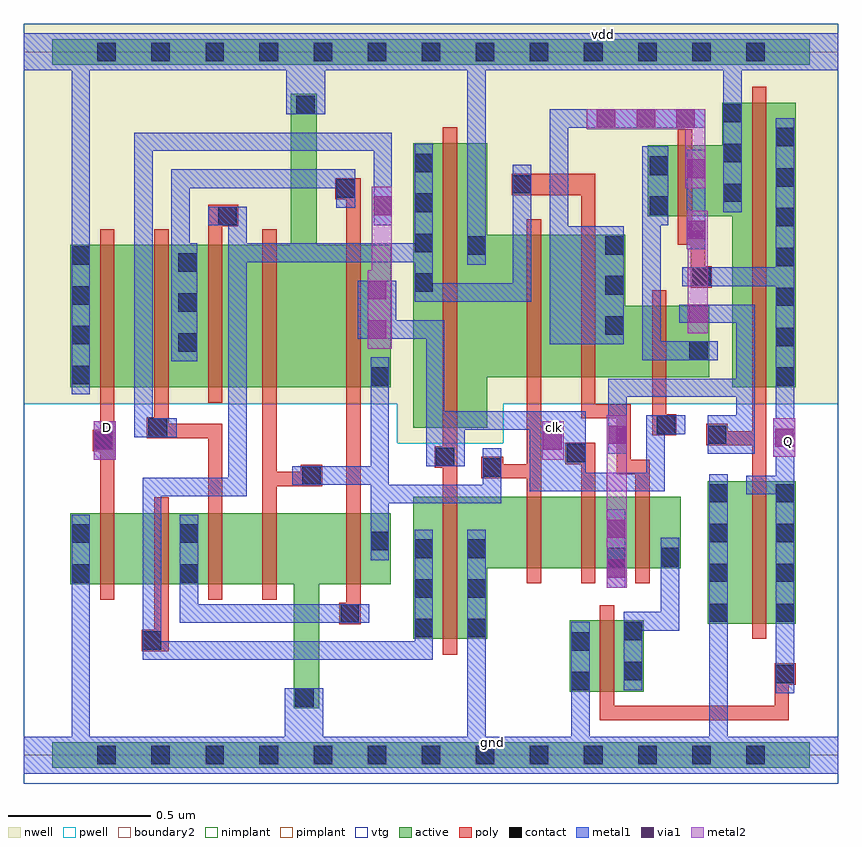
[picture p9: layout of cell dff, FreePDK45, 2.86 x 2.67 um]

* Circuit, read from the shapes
.subckt dff D Q clk gnd vdd
M1 n1 D gnd gnd nfet w=0.25u l=0.049u
M2 n2 n3 n1 gnd nfet w=0.25u l=0.051u
M3 n4 clk n2 gnd nfet w=0.25u l=0.05u
M4 gnd n5 n4 gnd nfet w=0.25u l=0.051u
M5 n5 n2 gnd gnd nfet w=0.25u l=0.05u
M6 gnd clk n3 gnd nfet w=0.499u l=0.05u
M7 n6 n5 gnd gnd nfet w=0.25u l=0.051u
M8 n7 clk n6 gnd nfet w=0.25u l=0.05u
M9 n8 Q gnd gnd nfet w=0.251u l=0.051u
M10 n8 n3 n7 gnd nfet w=0.25u l=0.051u
M11 Q n7 gnd gnd nfet w=0.5u l=0.049u
M12 n9 D vdd vdd pfet w=0.5u l=0.049u
M13 n2 clk n9 vdd pfet w=0.5u l=0.051u
M14 n10 n3 n2 vdd pfet w=0.5u l=0.05u
M15 vdd n5 n10 vdd pfet w=0.5u l=0.051u
M16 n5 n2 vdd vdd pfet w=0.5u l=0.05u
M17 vdd clk n3 vdd pfet w=1u l=0.05u
M18 n11 n5 vdd vdd pfet w=0.5u l=0.051u
M19 n7 n3 n11 vdd pfet w=0.5u l=0.05u
M20 n12 clk n7 vdd pfet w=0.25u l=0.05u
M21 vdd Q n12 vdd pfet w=0.251u l=0.051u
M22 Q n7 vdd vdd pfet w=1u l=0.049u
.ends

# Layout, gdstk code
import gdstk
lib = gdstk.Library(unit=1e-6, precision=1e-09)
def R(c, l, rs):  # rectangles x0, y0, x1, y1
    for r in rs: c.add(gdstk.rectangle(r[:2], r[2:], *l))
def A(c, l, x, y, w, h, nx, ny, dx, dy):  # array of equal rectangles
    R(c, l, [(x+i*dx, y+j*dy, x+i*dx+w, y+j*dy+h) for i in range(nx) for j in range(ny)])
def P(c, l, *ps):  # polygons
    for p in ps: c.add(gdstk.Polygon(p, *l))
active = (1, 0)
pwell = (2, 0)
nwell = (3, 0)
nimplant = (4, 0)
pimplant = (5, 0)
vtg = (6, 0)
poly = (9, 0)
contact = (10, 0)
metal1 = (11, 0)
via1 = (12, 0)
metal2 = (13, 0)
boundary2 = (239, 0)

dff = lib.new_cell('dff')
R(dff, active, [(0.1,-0.045,2.76,0.045), (1.917,0.222,2.022,0.473), (2.022,0.222,2.073,0.473), (2.073,0.222,2.178,0.473), (1.367,0.408,1.472,0.907), (1.472,0.408,1.522,0.907), (2.402,0.462,2.558,0.962), (2.558,0.462,2.607,0.962), (2.607,0.462,2.712,0.962), (0.163,0.6,0.268,0.85), (0.268,0.6,0.317,0.85), (0.317,0.6,0.457,0.85), (0.457,0.6,0.508,0.85), (0.508,0.6,0.647,0.85), (0.647,0.6,0.697,0.85), (0.697,0.6,0.837,0.85), (0.837,0.6,0.888,0.85), (1.133,0.6,1.183,0.85), (1.183,0.6,1.288,0.85), (1.767,0.657,1.818,0.907), (1.818,0.657,1.957,0.907), (1.957,0.657,2.007,0.907), (2.007,0.657,2.147,0.907), (2.147,0.657,2.198,0.907), (2.198,0.657,2.308,0.907), (1.367,1.15,1.472,2.15), (1.472,1.15,1.522,2.15), (0.163,1.292,0.268,1.792), (0.268,1.292,0.317,1.792), (0.317,1.292,0.457,1.792), (0.457,1.292,0.508,1.792), (0.508,1.292,0.647,1.792), (0.647,1.292,0.697,1.792), (0.697,1.292,0.837,1.792), (0.837,1.292,0.888,1.792), (1.133,1.292,1.183,1.792), (1.183,1.292,1.288,1.792), (2.558,1.292,2.607,2.292), (2.607,1.292,2.712,2.292), (1.767,1.328,1.818,1.828), (1.818,1.328,1.957,1.828), (1.957,1.328,2.007,1.828), (2.207,1.328,2.257,1.578), (2.257,1.328,2.408,1.578), (2.192,1.892,2.297,2.143), (2.297,1.892,2.348,2.143), (0.1,2.425,2.76,2.515)])
P(dff, active, [(0.888,1.292),(0.888,1.792),(0.937,1.792),(0.937,2.323),(1.028,2.323),(1.028,1.792),(1.133,1.792),(1.133,1.292)],
  [(1.522,1.15),(1.522,2.15),(1.627,2.15),(1.627,1.828),(1.767,1.828),(1.767,1.328),(1.627,1.328),(1.627,1.15)],
  [(2.007,1.328),(2.007,1.828),(2.112,1.828),(2.112,1.578),(2.207,1.578),(2.207,1.328)],
  [(2.488,1.292),(2.488,1.892),(2.348,1.892),(2.348,2.143),(2.453,2.143),(2.453,2.292),(2.558,2.292),(2.558,1.292)],
  [(0.947,0.165),(0.947,0.6),(0.888,0.6),(0.888,0.85),(1.133,0.85),(1.133,0.6),(1.038,0.6),(1.038,0.165)],
  [(1.522,0.408),(1.522,0.907),(1.767,0.907),(1.767,0.657),(1.627,0.657),(1.627,0.408)])
P(dff, pwell, [(0,-0.1),(0,1.235),(1.312,1.235),(1.312,1.095),(1.683,1.095),(1.683,1.235),(2.86,1.235),(2.86,-0.1)])
P(dff, nwell, [(1.312,1.095),(1.312,1.235),(0,1.235),(0,2.57),(2.86,2.57),(2.86,1.235),(1.683,1.235),(1.683,1.095)])
R(dff, nimplant, [(1.917,0.222,2.022,0.473), (2.022,0.222,2.073,0.473), (2.073,0.222,2.178,0.473), (1.367,0.408,1.472,0.907), (1.472,0.408,1.522,0.907), (2.402,0.462,2.558,0.962), (2.558,0.462,2.607,0.962), (2.607,0.462,2.712,0.962), (0.163,0.6,0.268,0.85), (0.268,0.6,0.317,0.85), (0.317,0.6,0.457,0.85), (0.457,0.6,0.508,0.85), (0.508,0.6,0.647,0.85), (0.647,0.6,0.697,0.85), (0.697,0.6,0.837,0.85), (0.837,0.6,0.888,0.85), (1.133,0.6,1.183,0.85), (1.183,0.6,1.288,0.85), (1.767,0.657,1.818,0.907), (1.818,0.657,1.957,0.907), (1.957,0.657,2.007,0.907), (2.007,0.657,2.147,0.907), (2.147,0.657,2.198,0.907), (2.198,0.657,2.308,0.907), (0.1,2.425,2.76,2.515)])
P(dff, nimplant, [(0.947,0.165),(0.947,0.6),(0.888,0.6),(0.888,0.85),(1.133,0.85),(1.133,0.6),(1.038,0.6),(1.038,0.165)],
  [(1.522,0.408),(1.522,0.907),(1.767,0.907),(1.767,0.657),(1.627,0.657),(1.627,0.408)])
R(dff, pimplant, [(0.1,-0.045,2.76,0.045), (1.367,1.15,1.472,2.15), (1.472,1.15,1.522,2.15), (0.163,1.292,0.268,1.792), (0.268,1.292,0.317,1.792), (0.317,1.292,0.457,1.792), (0.457,1.292,0.508,1.792), (0.508,1.292,0.647,1.792), (0.647,1.292,0.697,1.792), (0.697,1.292,0.837,1.792), (0.837,1.292,0.888,1.792), (1.133,1.292,1.183,1.792), (1.183,1.292,1.288,1.792), (2.558,1.292,2.607,2.292), (2.607,1.292,2.712,2.292), (1.767,1.328,1.818,1.828), (1.818,1.328,1.957,1.828), (1.957,1.328,2.007,1.828), (2.207,1.328,2.257,1.578), (2.257,1.328,2.408,1.578), (2.192,1.892,2.297,2.143), (2.297,1.892,2.348,2.143)])
P(dff, pimplant, [(0.888,1.292),(0.888,1.792),(0.937,1.792),(0.937,2.323),(1.028,2.323),(1.028,1.792),(1.133,1.792),(1.133,1.292)],
  [(1.522,1.15),(1.522,2.15),(1.627,2.15),(1.627,1.828),(1.767,1.828),(1.767,1.328),(1.627,1.328),(1.627,1.15)],
  [(2.007,1.328),(2.007,1.828),(2.112,1.828),(2.112,1.578),(2.207,1.578),(2.207,1.328)],
  [(2.488,1.292),(2.488,1.892),(2.348,1.892),(2.348,2.143),(2.453,2.143),(2.453,2.292),(2.558,2.292),(2.558,1.292)])
R(dff, vtg, [(0,-0.1,2.86,2.57)])
R(dff, poly, [(2.022,0.222,2.073,0.473), (1.472,0.352,1.522,0.408), (1.472,0.408,1.522,0.907), (2.558,0.408,2.607,0.462), (2.558,0.462,2.607,0.962), (2.022,0.473,2.073,0.527), (0.268,0.545,0.317,0.6), (0.647,0.545,0.697,0.6), (0.837,0.545,0.888,0.6), (0.268,0.6,0.317,0.85), (0.457,0.6,0.508,0.85), (0.647,0.6,0.697,0.85), (0.837,0.6,0.888,0.85), (1.133,0.6,1.183,0.85), (1.767,0.603,1.818,0.657), (1.957,0.603,2.007,0.657), (2.147,0.603,2.198,0.657), (1.767,0.657,1.818,0.907), (1.957,0.657,2.007,0.907), (2.147,0.657,2.198,0.907), (0.457,0.85,0.508,0.905), (1.133,0.85,1.183,1.292), (1.472,1.15,1.522,2.15), (0.647,1.238,0.697,1.292), (0.268,1.292,0.317,1.792), (0.457,1.292,0.508,1.792), (0.647,1.292,0.697,1.792), (0.837,1.292,0.888,1.792), (1.133,1.292,1.183,1.792), (2.558,1.292,2.607,2.292), (1.767,1.328,1.818,1.828), (1.957,1.328,2.007,1.828), (2.207,1.328,2.257,1.578), (2.207,1.578,2.257,1.632), (0.268,1.792,0.317,1.848), (0.457,1.792,0.508,1.848), (0.837,1.792,0.888,1.848), (1.767,1.828,1.818,1.882), (2.297,1.892,2.348,2.143), (2.297,2.143,2.348,2.198), (1.472,2.15,1.522,2.205), (2.558,2.292,2.607,2.348)])
P(dff, poly, [(0.268,0.85),(0.268,1.068),(0.242,1.068),(0.242,1.143),(0.268,1.143),(0.268,1.292),(0.317,1.292),(0.317,0.85)],
  [(0.413,0.365),(0.413,0.44),(0.457,0.44),(0.457,0.6),(0.508,0.6),(0.508,0.365)],
  [(0.647,1.792),(0.647,1.933),(0.753,1.933),(0.753,1.857),(0.697,1.857),(0.697,1.792)],
  [(0.647,0.85),(0.647,1.113),(0.432,1.113),(0.432,1.187),(0.457,1.187),(0.457,1.292),(0.508,1.292),(0.508,1.163),(0.697,1.163),(0.697,0.85)],
  [(0.837,0.85),(0.837,1.292),(0.888,1.292),(0.888,0.995),(0.972,0.995),(0.972,1.02),(1.048,1.02),(1.048,0.945),(0.888,0.945),(0.888,0.85)],
  [(1.133,1.792),(1.133,1.953),(1.093,1.953),(1.093,2.027),(1.183,2.027),(1.183,1.792)],
  [(1.107,0.46),(1.107,0.535),(1.133,0.535),(1.133,0.6),(1.183,0.6),(1.183,0.46)],
  [(1.472,0.907),(1.472,1.01),(1.443,1.01),(1.443,1.085),(1.472,1.085),(1.472,1.15),(1.522,1.15),(1.522,0.907)],
  [(1.767,0.907),(1.767,0.972),(1.607,0.972),(1.607,1.048),(1.683,1.048),(1.683,1.022),(1.767,1.022),(1.767,1.328),(1.818,1.328),(1.818,0.907)],
  [(1.957,1.828),(1.957,1.967),(1.713,1.967),(1.713,2.042),(2.007,2.042),(2.007,1.828)],
  [(1.957,0.907),(1.957,1.022),(1.902,1.022),(1.902,1.097),(2.007,1.097),(2.007,0.907)],
  [(2.343,1.642),(2.343,1.792),(2.297,1.792),(2.297,1.892),(2.348,1.892),(2.348,1.842),(2.393,1.842),(2.393,1.717),(2.417,1.717),(2.417,1.642)],
  [(2.207,1.123),(2.207,1.328),(2.257,1.328),(2.257,1.197),(2.292,1.197),(2.292,1.123)],
  [(2.022,0.122),(2.022,0.222),(2.073,0.222),(2.073,0.173),(2.638,0.173),(2.638,0.323),(2.712,0.323),(2.712,0.247),(2.687,0.247),(2.687,0.122)],
  [(2.147,0.907),(2.147,0.987),(2.083,0.987),(2.083,1.183),(1.957,1.183),(1.957,1.328),(2.007,1.328),(2.007,1.232),(2.132,1.232),(2.132,1.038),(2.198,1.038),(2.198,0.907)],
  [(2.558,0.962),(2.558,1.088),(2.397,1.088),(2.397,1.163),(2.473,1.163),(2.473,1.137),(2.558,1.137),(2.558,1.292),(2.607,1.292),(2.607,0.962)])
A(dff, contact, 0.827, -0.033, 0.066, 0.066, 3, 1, 0.57, 0)
A(dff, contact, 2.408, 0.468, 0.065, 0.064, 1, 4, 0, 0.14)
A(dff, contact, 2.642, 0.468, 0.065, 0.064, 1, 4, 0, 0.14)
A(dff, contact, 2.642, 1.717, 0.065, 0.065, 1, 3, 0, 0.14)
A(dff, contact, 0.827, 2.437, 0.066, 0.065, 3, 1, 0.57, 0)
R(dff, contact, [(0.258,-0.033,0.323,0.033), (0.447,-0.033,0.512,0.033), (0.638,-0.033,0.702,0.033), (1.018,-0.033,1.083,0.033), (1.207,-0.033,1.272,0.033), (1.588,-0.033,1.653,0.033), (1.777,-0.033,1.842,0.033), (2.158,-0.033,2.223,0.033), (2.348,-0.033,2.413,0.033), (2.538,-0.033,2.602,0.033), (0.952,0.17,1.018,0.235), (1.922,0.227,1.987,0.292), (2.642,0.252,2.707,0.317), (2.107,0.263,2.172,0.328), (1.922,0.367,1.987,0.432), (0.417,0.37,0.482,0.435), (2.107,0.403,2.172,0.468), (1.373,0.413,1.437,0.478), (1.558,0.413,1.622,0.478), (1.113,0.465,1.177,0.53), (1.373,0.552,1.437,0.618), (1.558,0.552,1.622,0.618), (0.168,0.605,0.232,0.67), (0.547,0.605,0.613,0.67), (2.047,0.662,2.112,0.728), (2.238,0.662,2.303,0.728), (1.373,0.692,1.437,0.758), (1.558,0.692,1.622,0.758), (1.218,0.72,1.282,0.785), (0.168,0.745,0.232,0.81), (0.547,0.745,0.613,0.81), (0.977,0.95,1.042,1.015), (1.612,0.977,1.677,1.042), (1.447,1.015,1.512,1.08), (1.907,1.028,1.973,1.093), (0.247,1.073,0.312,1.137), (2.402,1.093,2.468,1.157), (0.437,1.117,0.503,1.183), (2.223,1.127,2.288,1.193), (1.218,1.298,1.282,1.363), (2.642,1.298,2.707,1.363), (0.168,1.302,0.232,1.367), (2.337,1.387,2.402,1.453), (0.542,1.417,0.608,1.482), (2.642,1.437,2.707,1.502), (0.168,1.443,0.232,1.508), (2.042,1.477,2.107,1.542), (0.542,1.558,0.608,1.622), (2.642,1.578,2.707,1.642), (0.168,1.582,0.232,1.647), (2.042,1.617,2.107,1.683), (1.373,1.627,1.437,1.693), (2.348,1.647,2.413,1.713), (0.542,1.697,0.608,1.762), (0.168,1.723,0.232,1.787), (1.558,1.757,1.622,1.822), (2.042,1.757,2.107,1.822), (1.373,1.767,1.437,1.832), (0.682,1.862,0.748,1.927), (2.198,1.897,2.263,1.963), (1.373,1.907,1.437,1.973), (2.457,1.943,2.522,2.007), (1.097,1.957,1.163,2.022), (1.717,1.973,1.782,2.037), (2.198,2.037,2.263,2.103), (1.373,2.047,1.437,2.112), (2.457,2.083,2.522,2.147), (2.642,2.138,2.707,2.203), (2.457,2.223,2.522,2.288), (0.957,2.252,1.022,2.317), (0.258,2.437,0.323,2.502), (0.447,2.437,0.512,2.502), (0.638,2.437,0.702,2.502), (1.018,2.437,1.083,2.502), (1.207,2.437,1.272,2.502), (1.588,2.437,1.653,2.502), (1.777,2.437,1.842,2.502), (2.158,2.437,2.223,2.502), (2.348,2.437,2.413,2.502), (2.538,2.437,2.602,2.502)])
R(dff, metal1, [(0,-0.065,2.86,0.065), (2.047,0.588,2.112,0.863), (2.642,0.915,2.707,1.127), (1.777,0.927,1.973,1.207), (0.245,1.038,0.323,1.173), (2.632,1.048,2.71,1.183), (2.328,1.777,2.393,2.127), (0,2.405,2.76,2.535)])
P(dff, metal1, [(0.168,1.268),(0.168,2.405),(0.1,2.405),(0.1,2.535),(2.86,2.535),(2.86,2.405),(2.522,2.405),(2.522,1.907),(2.457,1.907),(2.457,2.405),(1.622,2.405),(1.622,1.723),(1.558,1.723),(1.558,2.405),(1.058,2.405),(1.058,2.252),(0.922,2.252),(0.922,2.405),(0.232,2.405),(0.232,1.268)],
  [(0.1,-0.065),(0.1,0.065),(0.168,0.065),(0.168,0.845),(0.232,0.845),(0.232,0.065),(0.917,0.065),(0.917,0.235),(1.052,0.235),(1.052,0.065),(1.558,0.065),(1.558,0.792),(1.622,0.792),(1.622,0.065),(1.922,0.065),(1.922,0.468),(1.987,0.468),(1.987,0.065),(2.408,0.065),(2.408,0.987),(2.473,0.987),(2.473,0.065),(2.76,0.065),(2.76,-0.065)],
  [(0.417,0.335),(0.417,0.975),(0.718,0.975),(0.718,1.862),(0.647,1.862),(0.647,1.927),(0.782,1.927),(0.782,1.798),(1.373,1.798),(1.373,2.147),(1.437,2.147),(1.437,1.657),(1.717,1.657),(1.717,2.073),(1.782,2.073),(1.782,1.592),(1.373,1.592),(1.373,1.732),(0.782,1.732),(0.782,0.91),(0.482,0.91),(0.482,0.4),(1.373,0.4),(1.373,0.792),(1.437,0.792),(1.437,0.335)],
  [(1.777,0.927),(1.777,1.143),(1.548,1.143),(1.548,1.015),(1.413,1.015),(1.413,1.463),(1.173,1.463),(1.173,1.667),(1.308,1.667),(1.308,1.528),(1.477,1.528),(1.477,1.207),(1.973,1.207),(1.973,0.992),(2.187,0.992),(2.187,1.193),(2.323,1.193),(2.323,1.127),(2.252,1.127),(2.252,0.927)],
  [(0.387,1.117),(0.387,2.187),(1.292,2.187),(1.292,1.862),(1.228,1.862),(1.228,2.123),(0.452,2.123),(0.452,1.183),(0.537,1.183),(0.537,1.117)],
  [(0.517,1.383),(0.517,2.058),(1.163,2.058),(1.163,1.922),(1.097,1.922),(1.097,1.992),(0.583,1.992),(0.583,1.798),(0.608,1.798),(0.608,1.383)],
  [(0.547,0.465),(0.547,0.845),(0.613,0.845),(0.613,0.53),(1.213,0.53),(1.213,0.465)],
  [(1.218,0.685),(1.218,0.95),(0.942,0.95),(0.942,1.015),(1.218,1.015),(1.218,1.397),(1.282,1.397),(1.282,0.95),(1.612,0.95),(1.612,1.078),(1.677,1.078),(1.677,0.885),(1.282,0.885),(1.282,0.685)],
  [(1.848,1.443),(1.848,2.268),(2.393,2.268),(2.393,2.203),(1.912,2.203),(1.912,1.857),(2.107,1.857),(2.107,1.443)],
  [(2.053,1.058),(2.053,1.322),(2.502,1.322),(2.502,1.518),(2.303,1.518),(2.303,1.582),(2.567,1.582),(2.567,1.058),(2.402,1.058),(2.402,1.193),(2.502,1.193),(2.502,1.258),(2.118,1.258),(2.118,1.058)],
  [(2.172,1.387),(2.172,2.138),(2.263,2.138),(2.263,1.862),(2.238,1.862),(2.238,1.453),(2.437,1.453),(2.437,1.387)],
  [(2.642,0.217),(2.642,0.917),(2.538,0.917),(2.538,0.982),(2.642,0.982),(2.642,1.647),(2.312,1.647),(2.312,1.713),(2.642,1.713),(2.642,2.238),(2.707,2.238),(2.707,0.217)],
  [(2.107,0.227),(2.107,0.503),(2.238,0.503),(2.238,0.763),(2.303,0.763),(2.303,0.437),(2.172,0.437),(2.172,0.227)])
R(dff, via1, [(2.047,0.623,2.112,0.687), (2.047,0.763,2.112,0.827), (0.247,1.073,0.312,1.137), (1.825,1.073,1.89,1.137), (2.64,1.083,2.705,1.147), (2.053,1.093,2.118,1.157), (1.207,1.463,1.272,1.528), (2.337,1.518,2.402,1.582), (1.207,1.602,1.272,1.667), (2.328,1.812,2.393,1.877), (1.228,1.897,1.292,1.963), (2.328,2.027,2.393,2.093), (2.013,2.203,2.078,2.268), (2.152,2.203,2.218,2.268), (2.292,2.203,2.357,2.268)])
R(dff, metal2, [(2.047,0.588,2.118,1.193), (0.245,1.038,0.323,1.173), (1.82,1.038,1.897,1.173), (2.632,1.048,2.71,1.183)])
P(dff, metal2, [(1.207,1.427),(1.207,1.703),(1.222,1.703),(1.222,1.997),(1.292,1.997),(1.292,1.427)],
  [(2.323,1.992),(2.323,2.198),(1.977,2.198),(1.977,2.268),(2.393,2.268),(2.393,1.992)],
  [(2.332,1.482),(2.332,1.777),(2.328,1.777),(2.328,1.912),(2.402,1.912),(2.402,1.482)])
R(dff, boundary2, [(0,0,2.86,2.47)])
dff.add(gdstk.Label('clk', (1.865,1.15), layer=13, texttype=0))
dff.add(gdstk.Label('D', (0.295,1.15), layer=13, texttype=0))
dff.add(gdstk.Label('Q', (2.685,1.1), layer=13, texttype=0))
dff.add(gdstk.Label('gnd', (1.645,0.043), layer=11, texttype=0))
dff.add(gdstk.Label('vdd', (2.035,2.533), layer=11, texttype=0))

lib.write_gds('dff.gds')
